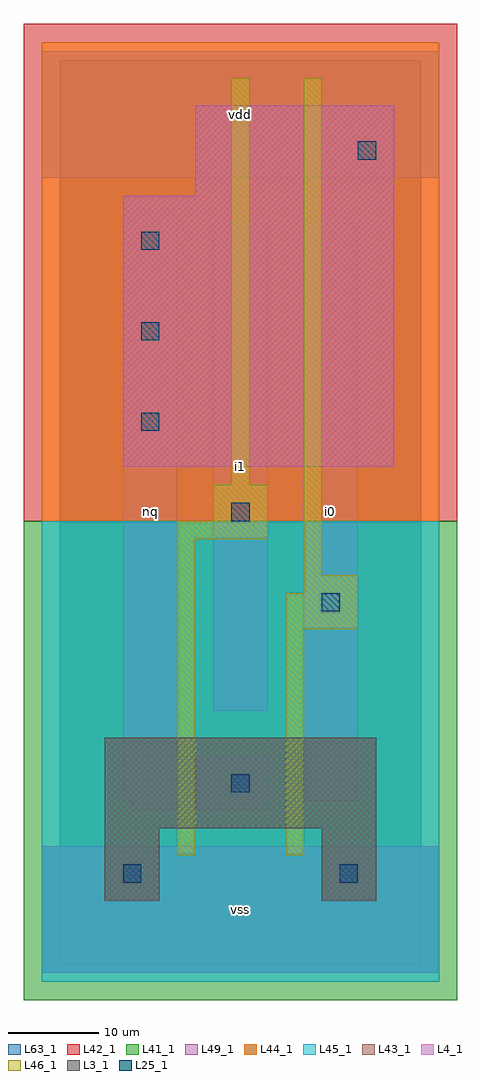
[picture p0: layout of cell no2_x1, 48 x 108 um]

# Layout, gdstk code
import gdstk
lib = gdstk.Library(unit=1e-6, precision=1e-09)
def R(c, l, rs):  # rectangles x0, y0, x1, y1
    for r in rs: c.add(gdstk.rectangle(r[:2], r[2:], *l))
def A(c, l, x, y, w, h, nx, ny, dx, dy):  # array of equal rectangles
    R(c, l, [(x+i*dx, y+j*dy, x+i*dx+w, y+j*dy+h) for i in range(nx) for j in range(ny)])
L3_1 = (3, 1)
L4_1 = (4, 1)
L25_1 = (25, 1)
L41_1 = (41, 1)
L42_1 = (42, 1)
L43_1 = (43, 1)
L44_1 = (44, 1)
L45_1 = (45, 1)
L46_1 = (46, 1)
L49_1 = (49, 1)
L63_1 = (63, 1)

no2_x1 = lib.new_cell('no2_x1')
R(no2_x1, L3_1, [(5,7,11,15), (29,7,35,15), (5,15,35,25)])
R(no2_x1, L4_1, [(7,55,37,85), (15,85,37,95)])
A(no2_x1, L25_1, 9, 59, 2, 2, 1, 3, 0, 10)
R(no2_x1, L25_1, [(7,9,9,11), (31,9,33,11), (19,19,21,21), (29,39,31,41), (19,49,21,51), (33,89,35,91)])
R(no2_x1, L41_1, [(-4,-4,44,49)])
R(no2_x1, L42_1, [(-4,49,44,104)])
R(no2_x1, L43_1, [(5,7,11,15), (29,7,35,15), (5,15,35,25), (7,55,37,85), (15,85,37,95)])
R(no2_x1, L44_1, [(-2,49,42,102)])
R(no2_x1, L45_1, [(-2,-2,42,49)])
R(no2_x1, L46_1, [(13,12,15,47), (25,12,27,37), (25,37,33,41), (27,41,33,43), (27,43,29,98), (13,47,23,49), (17,49,23,53), (19,53,21,98)])
R(no2_x1, L49_1, [(-2,-1,42,13), (8,17,23,18), (7,18,23,23), (27,18,33,82), (7,23,13,83), (17,28,23,82), (-2,87,42,101)])
R(no2_x1, L63_1, [(0,0,40,100)])
no2_x1.add(gdstk.Label('nq', (10,50), layer=49, texttype=1))
no2_x1.add(gdstk.Label('nq', (10,50), layer=49, texttype=1))
no2_x1.add(gdstk.Label('vss', (20,6), layer=49, texttype=1))
no2_x1.add(gdstk.Label('vss', (20,6), layer=49, texttype=1))
no2_x1.add(gdstk.Label('i0', (30,50), layer=49, texttype=1))
no2_x1.add(gdstk.Label('i0', (30,50), layer=49, texttype=1))
no2_x1.add(gdstk.Label('i1', (20,55), layer=49, texttype=1))
no2_x1.add(gdstk.Label('i1', (20,55), layer=49, texttype=1))
no2_x1.add(gdstk.Label('vdd', (20,94), layer=49, texttype=1))
no2_x1.add(gdstk.Label('vdd', (20,94), layer=49, texttype=1))

lib.write_gds('no2_x1.gds')
